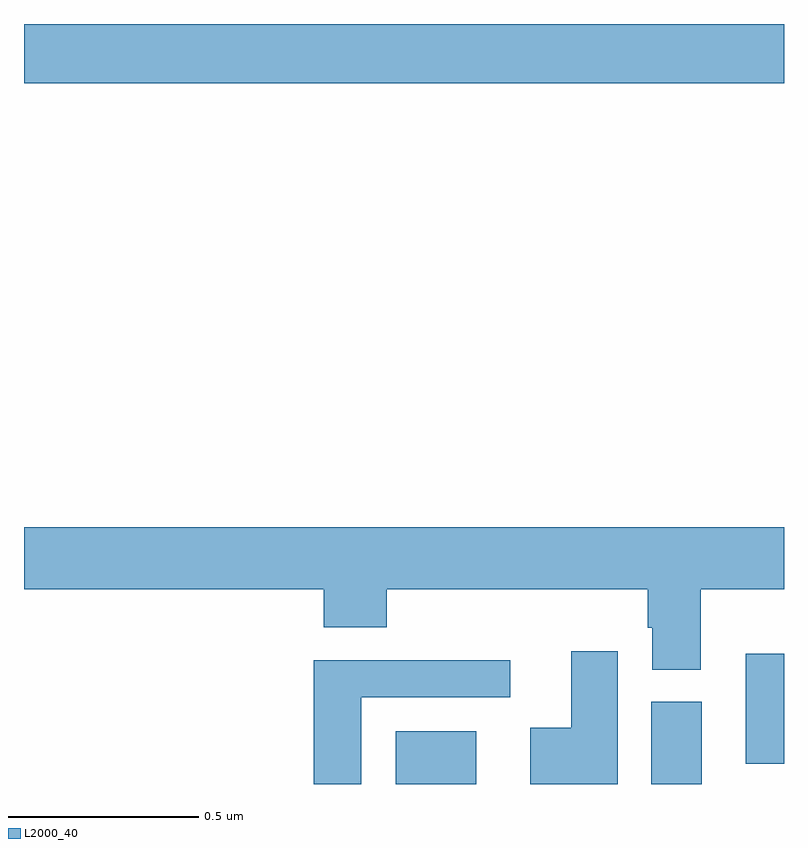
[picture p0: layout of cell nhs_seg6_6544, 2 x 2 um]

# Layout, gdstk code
import gdstk
lib = gdstk.Library(unit=1e-6, precision=1e-09)
def R(c, l, rs):  # rectangles x0, y0, x1, y1
    for r in rs: c.add(gdstk.rectangle(r[:2], r[2:], *l))
def P(c, l, *ps):  # polygons
    for p in ps: c.add(gdstk.Polygon(p, *l))
L2000_40 = (2000, 40)

nhs_seg6_6544 = lib.new_cell('nhs_seg6_6544')
R(nhs_seg6_6544, L2000_40, [(197.978,937.5,198.19,937.639), (198.65,937.5,198.784,937.716), (198.899,937.553,199,937.843), (197,939.344,199,939.5)])
P(nhs_seg6_6544, L2000_40, [(198.781,938.012),(199,938.012),(199,938.176),(197,938.176),(197,938.012),(197.789,938.012),(197.789,937.913),(197.954,937.913),(197.954,938.012),(198.641,938.012),(198.641,937.911),(198.653,937.911),(198.653,937.801),(198.781,937.801)],
  [(198.562,937.849),(198.44,937.849),(198.44,937.648),(198.332,937.648),(198.332,937.5),(198.562,937.5)],
  [(197.887,937.728),(198.28,937.728),(198.28,937.826),(197.762,937.826),(197.762,937.5),(197.887,937.5)])

lib.write_gds('nhs_seg6_6544.gds')
